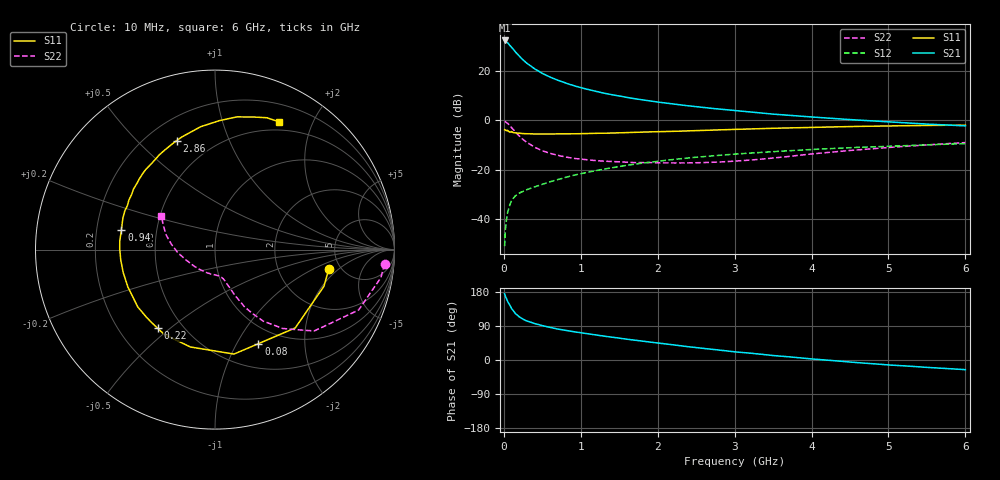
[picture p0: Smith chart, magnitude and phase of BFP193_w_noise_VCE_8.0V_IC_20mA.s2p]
! Infineon Technologies  Discrete & RF Semiconductors
! BFP193
! VCE = 8.0 V,  IC =  20 mA
! Common Emitter S-Parameters:  Jan 2016
# GHz  S  MA  R  50
!  f  S11  S21  S12  S22
! GHz  MAG  ANG  MAG  ANG  MAG  ANG  MAG  ANG
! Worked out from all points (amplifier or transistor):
!   210 points, 10 MHz to 6 GHz, reference 50 ohm
!   highest |S21| = 32.4 dB at 10 MHz (marker M1)
!   |S21| within 3 dB of that: start of sweep to 107.5 MHz
!   unconditionally stable (mu >= 1): 837.8 MHz to 3.91 GHz
!   at 185 MHz: K = 0.46, MSG = 28.2 dB, |S12| = -29.8 dB
!   at 1.52 GHz: K = 1.07, MAG = 12.6 dB, |S12| = -18.6 dB
!   at 6 GHz: K = 0.93, MSG = 3.6 dB, |S12| = -9.4 dB
!   lowest NFmin = 1.40 dB at 450 MHz
!   S11 on the Smith chart (normalised r, x): 10 MHz: 4.05, -1.47; 80 MHz: 0.79, -1.23; 220 MHz: 0.37, -0.45; 940 MHz: 0.31, +0.09; 2.86 GHz: 0.32, +0.66; 6 GHz: 0.40, +1.55
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0.01  0.6435 -9.5  41.65 174.7  0.0028 82.8  0.9484 -4.9
0.02  0.6405 -18.6  40.33 168.2  0.0059 80.9  0.9372 -9.6
0.05  0.6249 -44.3  37.29 154.2  0.0137 72.2  0.8682 -22.8
0.08  0.5772 -65.2  32.78 144.0  0.0195 62.3  0.7679 -32.0
0.1  0.5916 -79.7  30.49 135.7  0.0235 58.5  0.7145 -39.4
0.15  0.5596 -104.2  24.38 122.5  0.0294 53.6  0.5787 -49.4
0.2  0.5506 -121.0  20.07 114.0  0.0334 50.2  0.481 -56.0
0.22  0.5423 -126.1  18.69 111.6  0.0346 49.9  0.4509 -57.4
0.26  0.5364 -135.8  16.21 106.6  0.0369 49.6  0.3963 -60.5
0.3  0.5359 -143.4  14.31 102.8  0.0392 50.2  0.3564 -62.8
0.4  0.5282 -156.7  11.07 96.1  0.0447 51.3  0.284 -66.1
0.5  0.5272 -165.9  8.932 90.5  0.0504 52.7  0.2413 -68.2
0.6  0.5283 -173.9  7.535 85.9  0.0566 53.5  0.2142 -69.7
0.94  0.533 168.1  4.885 73.7  0.0788 55.9  0.167 -74.6
1.02  0.5371 164.4  4.512 71.2  0.0836 56.1  0.1617 -75.9
1.4  0.5534 150.1  3.304 60.4  0.1086 54.6  0.1462 -84.2
2.02  0.5898 131.0  2.324 44.4  0.1492 49.4  0.1368 -103.2
2.86  0.6438 109.3  1.654 24.8  0.1985 40.4  0.1441 -136.5
3.1  0.6598 104.3  1.521 19.9  0.2113 37.5  0.152 -146.0
4.1  0.7236 86.7  1.14 1.3  0.2606 26.6  0.2146 -177.9
5.1  0.7714 73.1  0.912 -14.2  0.3019 16.1  0.2885 161.9
6  0.7963 63.3  0.771 -25.5  0.3371 6.8  0.3533 147.8
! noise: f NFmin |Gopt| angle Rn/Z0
0.45  1.4  0.3  160  0.1
0.9  1.45  0.34  172  0.11
1.8  2.2  0.56  -148  0.2
